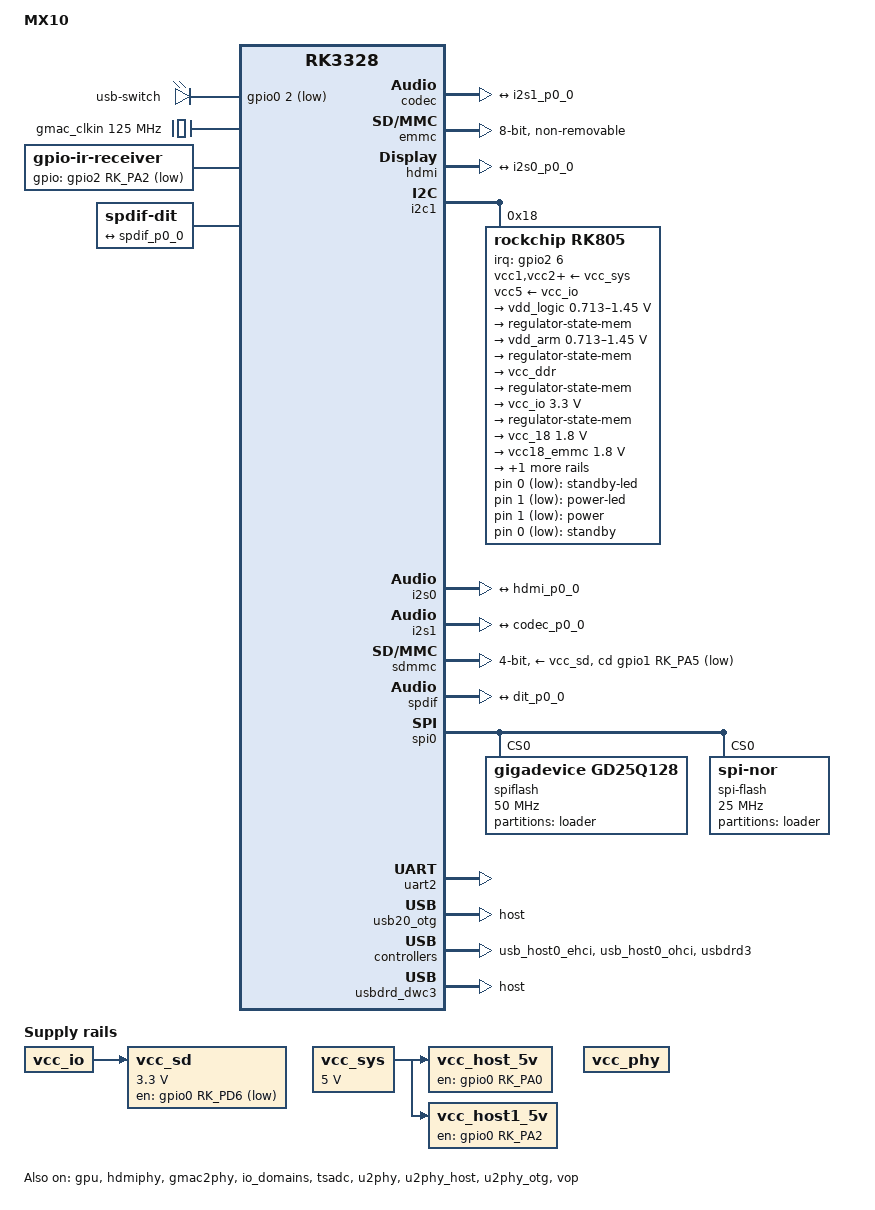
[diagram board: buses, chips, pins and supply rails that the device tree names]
// SPDX-License-Identifier: (GPL-2.0+ OR MIT)
/*
 * Copyright (c) 2017 PINE64
 */

/dts-v1/;
#include "rk3328.dtsi"

/ {
	model = "MX10";
	compatible = "mx10,mx10", "rockchip,rk3328";

	chosen {
		bootargs = "earlycon=uart8250,mmio32,0xff130000";
		stdout-path = "serial2:1500000n8";
	};

/* the ddr_timing is only used with legacy atf - mainline atf does not yet support dmc */
	ddr_timing {
		compatible = "rockchip,ddr-timing";
		ddr3_speed_bin = <0x15>;
		ddr4_speed_bin = <0xc>;
		pd_idle = <0x0>;
		sr_idle = <0x0>;
		sr_mc_gate_idle = <0x0>;
		srpd_lite_idle = <0x0>;
		standby_idle = <0x0>;
		auto_pd_dis_freq = <0x42a>;
		auto_sr_dis_freq = <0x320>;
		ddr3_dll_dis_freq = <0x12c>;
		ddr4_dll_dis_freq = <0x271>;
		phy_dll_dis_freq = <0x190>;
		ddr3_odt_dis_freq = <0x64>;
		phy_ddr3_odt_dis_freq = <0x64>;
		ddr3_drv = <0x28>;
		ddr3_odt = <0x78>;
		phy_ddr3_ca_drv = <0x15>;
		phy_ddr3_ck_drv = <0x12>;
		phy_ddr3_dq_drv = <0x15>;
		phy_ddr3_odt = <0x2>;
		lpddr3_odt_dis_freq = <0x29a>;
		phy_lpddr3_odt_dis_freq = <0x29a>;
		lpddr3_drv = <0x28>;
		lpddr3_odt = <0xf0>;
		phy_lpddr3_ca_drv = <0x16>;
		phy_lpddr3_ck_drv = <0x13>;
		phy_lpddr3_dq_drv = <0x16>;
		phy_lpddr3_odt = <0x2>;
		lpddr4_odt_dis_freq = <0x320>;
		phy_lpddr4_odt_dis_freq = <0x320>;
		lpddr4_drv = <0x3c>;
		lpddr4_dq_odt = <0x28>;
		lpddr4_ca_odt = <0x28>;
		phy_lpddr4_ca_drv = <0x14>;
		phy_lpddr4_ck_cs_drv = <0x6>;
		phy_lpddr4_dq_drv = <0x6>;
		phy_lpddr4_odt = <0x10>;
		ddr4_odt_dis_freq = <0x29a>;
		phy_ddr4_odt_dis_freq = <0x29a>;
		ddr4_drv = <0x22>;
		ddr4_odt = <0x78>;
		phy_ddr4_ca_drv = <0x1b>;
		phy_ddr4_ck_drv = <0x1b>;
		phy_ddr4_dq_drv = <0x1b>;
		phy_ddr4_odt = <0x4>;
		ddr3a1_ddr4a9_de-skew = <0x1>;
		ddr3a0_ddr4a10_de-skew = <0x1>;
		ddr3a3_ddr4a6_de-skew = <0x0>;
		ddr3a2_ddr4a4_de-skew = <0x1>;
		ddr3a5_ddr4a8_de-skew = <0x0>;
		ddr3a4_ddr4a5_de-skew = <0x1>;
		ddr3a7_ddr4a11_de-skew = <0x1>;
		ddr3a6_ddr4a7_de-skew = <0x0>;
		ddr3a9_ddr4a0_de-skew = <0x1>;
		ddr3a8_ddr4a13_de-skew = <0x0>;
		ddr3a11_ddr4a3_de-skew = <0x2>;
		ddr3a10_ddr4cs0_de-skew = <0x3>;
		ddr3a13_ddr4a2_de-skew = <0x1>;
		ddr3a12_ddr4ba1_de-skew = <0x0>;
		ddr3a15_ddr4odt0_de-skew = <0x3>;
		ddr3a14_ddr4a1_de-skew = <0x2>;
		ddr3ba1_ddr4a15_de-skew = <0x1>;
		ddr3ba0_ddr4bg0_de-skew = <0x1>;
		ddr3ras_ddr4cke_de-skew = <0x3>;
		ddr3ba2_ddr4ba0_de-skew = <0x1>;
		ddr3we_ddr4bg1_de-skew = <0x3>;
		ddr3cas_ddr4a12_de-skew = <0x1>;
		ddr3ckn_ddr4ckn_de-skew = <0x4>;
		ddr3ckp_ddr4ckp_de-skew = <0x4>;
		ddr3cke_ddr4a16_de-skew = <0x1>;
		ddr3odt0_ddr4a14_de-skew = <0x1>;
		ddr3cs0_ddr4act_de-skew = <0x2>;
		ddr3reset_ddr4reset_de-skew = <0x3>;
		ddr3cs1_ddr4cs1_de-skew = <0x2>;
		ddr3odt1_ddr4odt1_de-skew = <0x2>;
		cs0_dm0_rx_de-skew = <0x8>;
		cs0_dm0_tx_de-skew = <0x9>;
		cs0_dq0_rx_de-skew = <0x8>;
		cs0_dq0_tx_de-skew = <0x9>;
		cs0_dq1_rx_de-skew = <0x8>;
		cs0_dq1_tx_de-skew = <0x9>;
		cs0_dq2_rx_de-skew = <0x8>;
		cs0_dq2_tx_de-skew = <0x9>;
		cs0_dq3_rx_de-skew = <0x8>;
		cs0_dq3_tx_de-skew = <0x9>;
		cs0_dq4_rx_de-skew = <0x8>;
		cs0_dq4_tx_de-skew = <0x9>;
		cs0_dq5_rx_de-skew = <0x8>;
		cs0_dq5_tx_de-skew = <0x9>;
		cs0_dq6_rx_de-skew = <0x8>;
		cs0_dq6_tx_de-skew = <0x9>;
		cs0_dq7_rx_de-skew = <0x8>;
		cs0_dq7_tx_de-skew = <0x9>;
		cs0_dqs0_rx_de-skew = <0x7>;
		cs0_dqs0p_tx_de-skew = <0xa>;
		cs0_dqs0n_tx_de-skew = <0xa>;
		cs0_dm1_rx_de-skew = <0x8>;
		cs0_dm1_tx_de-skew = <0x8>;
		cs0_dq8_rx_de-skew = <0x8>;
		cs0_dq8_tx_de-skew = <0x9>;
		cs0_dq9_rx_de-skew = <0x8>;
		cs0_dq9_tx_de-skew = <0x8>;
		cs0_dq10_rx_de-skew = <0x8>;
		cs0_dq10_tx_de-skew = <0x9>;
		cs0_dq11_rx_de-skew = <0x8>;
		cs0_dq11_tx_de-skew = <0x8>;
		cs0_dq12_rx_de-skew = <0x8>;
		cs0_dq12_tx_de-skew = <0x9>;
		cs0_dq13_rx_de-skew = <0x8>;
		cs0_dq13_tx_de-skew = <0x8>;
		cs0_dq14_rx_de-skew = <0x8>;
		cs0_dq14_tx_de-skew = <0x9>;
		cs0_dq15_rx_de-skew = <0x8>;
		cs0_dq15_tx_de-skew = <0x8>;
		cs0_dqs1_rx_de-skew = <0x8>;
		cs0_dqs1p_tx_de-skew = <0xa>;
		cs0_dqs1n_tx_de-skew = <0xa>;
		cs0_dm2_rx_de-skew = <0x8>;
		cs0_dm2_tx_de-skew = <0x9>;
		cs0_dq16_rx_de-skew = <0x8>;
		cs0_dq16_tx_de-skew = <0x9>;
		cs0_dq17_rx_de-skew = <0x8>;
		cs0_dq17_tx_de-skew = <0x9>;
		cs0_dq18_rx_de-skew = <0x8>;
		cs0_dq18_tx_de-skew = <0x9>;
		cs0_dq19_rx_de-skew = <0x8>;
		cs0_dq19_tx_de-skew = <0x9>;
		cs0_dq20_rx_de-skew = <0x8>;
		cs0_dq20_tx_de-skew = <0x9>;
		cs0_dq21_rx_de-skew = <0x8>;
		cs0_dq21_tx_de-skew = <0x9>;
		cs0_dq22_rx_de-skew = <0x8>;
		cs0_dq22_tx_de-skew = <0x9>;
		cs0_dq23_rx_de-skew = <0x8>;
		cs0_dq23_tx_de-skew = <0x9>;
		cs0_dqs2_rx_de-skew = <0x7>;
		cs0_dqs2p_tx_de-skew = <0xa>;
		cs0_dqs2n_tx_de-skew = <0xa>;
		cs0_dm3_rx_de-skew = <0x8>;
		cs0_dm3_tx_de-skew = <0x8>;
		cs0_dq24_rx_de-skew = <0x8>;
		cs0_dq24_tx_de-skew = <0x9>;
		cs0_dq25_rx_de-skew = <0x8>;
		cs0_dq25_tx_de-skew = <0x8>;
		cs0_dq26_rx_de-skew = <0x8>;
		cs0_dq26_tx_de-skew = <0x8>;
		cs0_dq27_rx_de-skew = <0x8>;
		cs0_dq27_tx_de-skew = <0x8>;
		cs0_dq28_rx_de-skew = <0x8>;
		cs0_dq28_tx_de-skew = <0x8>;
		cs0_dq29_rx_de-skew = <0x8>;
		cs0_dq29_tx_de-skew = <0x8>;
		cs0_dq30_rx_de-skew = <0x8>;
		cs0_dq30_tx_de-skew = <0x8>;
		cs0_dq31_rx_de-skew = <0x8>;
		cs0_dq31_tx_de-skew = <0x8>;
		cs0_dqs3_rx_de-skew = <0x8>;
		cs0_dqs3p_tx_de-skew = <0xa>;
		cs0_dqs3n_tx_de-skew = <0xa>;
		cs1_dm0_rx_de-skew = <0x8>;
		cs1_dm0_tx_de-skew = <0x9>;
		cs1_dq0_rx_de-skew = <0x8>;
		cs1_dq0_tx_de-skew = <0x9>;
		cs1_dq1_rx_de-skew = <0x8>;
		cs1_dq1_tx_de-skew = <0x9>;
		cs1_dq2_rx_de-skew = <0x8>;
		cs1_dq2_tx_de-skew = <0x9>;
		cs1_dq3_rx_de-skew = <0x8>;
		cs1_dq3_tx_de-skew = <0x9>;
		cs1_dq4_rx_de-skew = <0x8>;
		cs1_dq4_tx_de-skew = <0x9>;
		cs1_dq5_rx_de-skew = <0x8>;
		cs1_dq5_tx_de-skew = <0x9>;
		cs1_dq6_rx_de-skew = <0x8>;
		cs1_dq6_tx_de-skew = <0x9>;
		cs1_dq7_rx_de-skew = <0x8>;
		cs1_dq7_tx_de-skew = <0x9>;
		cs1_dqs0_rx_de-skew = <0x7>;
		cs1_dqs0p_tx_de-skew = <0xa>;
		cs1_dqs0n_tx_de-skew = <0xa>;
		cs1_dm1_rx_de-skew = <0x8>;
		cs1_dm1_tx_de-skew = <0x8>;
		cs1_dq8_rx_de-skew = <0x8>;
		cs1_dq8_tx_de-skew = <0x9>;
		cs1_dq9_rx_de-skew = <0x8>;
		cs1_dq9_tx_de-skew = <0x8>;
		cs1_dq10_rx_de-skew = <0x8>;
		cs1_dq10_tx_de-skew = <0x9>;
		cs1_dq11_rx_de-skew = <0x8>;
		cs1_dq11_tx_de-skew = <0x8>;
		cs1_dq12_rx_de-skew = <0x8>;
		cs1_dq12_tx_de-skew = <0x9>;
		cs1_dq13_rx_de-skew = <0x8>;
		cs1_dq13_tx_de-skew = <0x8>;
		cs1_dq14_rx_de-skew = <0x8>;
		cs1_dq14_tx_de-skew = <0x9>;
		cs1_dq15_rx_de-skew = <0x8>;
		cs1_dq15_tx_de-skew = <0x8>;
		cs1_dqs1_rx_de-skew = <0x8>;
		cs1_dqs1p_tx_de-skew = <0xa>;
		cs1_dqs1n_tx_de-skew = <0xa>;
		cs1_dm2_rx_de-skew = <0x8>;
		cs1_dm2_tx_de-skew = <0x9>;
		cs1_dq16_rx_de-skew = <0x8>;
		cs1_dq16_tx_de-skew = <0x9>;
		cs1_dq17_rx_de-skew = <0x8>;
		cs1_dq17_tx_de-skew = <0x9>;
		cs1_dq18_rx_de-skew = <0x8>;
		cs1_dq18_tx_de-skew = <0x9>;
		cs1_dq19_rx_de-skew = <0x8>;
		cs1_dq19_tx_de-skew = <0x9>;
		cs1_dq20_rx_de-skew = <0x8>;
		cs1_dq20_tx_de-skew = <0x9>;
		cs1_dq21_rx_de-skew = <0x8>;
		cs1_dq21_tx_de-skew = <0x9>;
		cs1_dq22_rx_de-skew = <0x8>;
		cs1_dq22_tx_de-skew = <0x9>;
		cs1_dq23_rx_de-skew = <0x8>;
		cs1_dq23_tx_de-skew = <0x9>;
		cs1_dqs2_rx_de-skew = <0x7>;
		cs1_dqs2p_tx_de-skew = <0xa>;
		cs1_dqs2n_tx_de-skew = <0xa>;
		cs1_dm3_rx_de-skew = <0x8>;
		cs1_dm3_tx_de-skew = <0x8>;
		cs1_dq24_rx_de-skew = <0x8>;
		cs1_dq24_tx_de-skew = <0x9>;
		cs1_dq25_rx_de-skew = <0x8>;
		cs1_dq25_tx_de-skew = <0x8>;
		cs1_dq26_rx_de-skew = <0x8>;
		cs1_dq26_tx_de-skew = <0x8>;
		cs1_dq27_rx_de-skew = <0x8>;
		cs1_dq27_tx_de-skew = <0x8>;
		cs1_dq28_rx_de-skew = <0x8>;
		cs1_dq28_tx_de-skew = <0x8>;
		cs1_dq29_rx_de-skew = <0x8>;
		cs1_dq29_tx_de-skew = <0x8>;
		cs1_dq30_rx_de-skew = <0x8>;
		cs1_dq30_tx_de-skew = <0x8>;
		cs1_dq31_rx_de-skew = <0x8>;
		cs1_dq31_tx_de-skew = <0x8>;
		cs1_dqs3_rx_de-skew = <0x8>;
		cs1_dqs3p_tx_de-skew = <0xa>;
		cs1_dqs3n_tx_de-skew = <0xa>;
		phandle = <0x81>;
	};

	leds {
		compatible = "gpio-leds";

		standby-led {
			linux,default-trigger = "disk-activity";
			gpios = <&rk805 0 GPIO_ACTIVE_LOW>;
			default-state = "on";
		};

		power-led {
			gpios = <&rk805 1 GPIO_ACTIVE_LOW>;
			default-state = "on";
		};
	};

	leds {
		compatible = "gpio-leds";

		usb-switch {
			linux,default-trigger = "none";
			gpios = <&gpio0 2 1>;
			mode = <0x23>;
			default-state = "on";
		};
	};

	gmac_clkin: external-gmac-clock {
		compatible = "fixed-clock";
		clock-frequency = <125000000>;
		clock-output-names = "gmac_clkin";
		#clock-cells = <0>;
	};

	vcc_sd: sdmmc-regulator {
		compatible = "regulator-fixed";
		gpio = <&gpio0 RK_PD6 GPIO_ACTIVE_LOW>;
		pinctrl-names = "default";
		pinctrl-0 = <&sdmmc0m1_pin>;
		regulator-name = "vcc_sd";
		regulator-min-microvolt = <3300000>;
		regulator-max-microvolt = <3300000>;
		vin-supply = <&vcc_io>;
	};

	vcc_host_5v: vcc-host-5v-regulator {
		compatible = "regulator-fixed";
		enable-active-high;
		gpio = <&gpio0 RK_PA0 GPIO_ACTIVE_HIGH>;
		pinctrl-names = "default";
		pinctrl-0 = <&usb30_host_drv>;
		regulator-name = "vcc_host_5v";
		regulator-always-on;
		regulator-boot-on;
		vin-supply = <&vcc_sys>;
	};

	vcc_host1_5v: vcc_otg_5v: vcc-host1-5v-regulator {
		compatible = "regulator-fixed";
		enable-active-high;
		gpio = <&gpio0 RK_PA2 GPIO_ACTIVE_HIGH>;
		pinctrl-names = "default";
		pinctrl-0 = <&usb20_host_drv>;
		regulator-name = "vcc_host1_5v";
		regulator-always-on;
		regulator-boot-on;
		vin-supply = <&vcc_sys>;
	};

	vcc_sys: vcc-sys {
		compatible = "regulator-fixed";
		regulator-name = "vcc_sys";
		regulator-always-on;
		regulator-boot-on;
		regulator-min-microvolt = <5000000>;
		regulator-max-microvolt = <5000000>;
	};

	ir-receiver {
		compatible = "gpio-ir-receiver";
		gpios = <&gpio2 RK_PA2 GPIO_ACTIVE_LOW>;
		pinctrl-0 = <&ir_int>;
		pinctrl-names = "default";
	};

	leds {
		compatible = "gpio-leds";

		power {
			gpios = <&rk805 1 GPIO_ACTIVE_LOW>;
			linux,default-trigger = "mmc0";
		};

		standby {
			gpios = <&rk805 0 GPIO_ACTIVE_LOW>;
			linux,default-trigger = "heartbeat";
		};
	};

	sound {
		compatible = "audio-graph-card";
		label = "rockchip,rk3328";
		dais = <&i2s0_p0
			&i2s1_p0
			&spdif_p0>;
	};

	spdif-dit {
		compatible = "linux,spdif-dit";
		#sound-dai-cells = <0>;

		port {
			dit_p0_0: endpoint {
				remote-endpoint = <&spdif_p0_0>;
			};
		};
	};

	vcc_phy: vcc-phy-regulator {
		compatible = "regulator-fixed";
		regulator-name = "vcc_phy";
		regulator-always-on;
		regulator-boot-on;
	};
};

&codec {
	status = "okay";

	port@0 {
		codec_p0_0: endpoint {
			remote-endpoint = <&i2s1_p0_0>;
		};
	};
};

&cpu0 {
	cpu-supply = <&vdd_arm>;
};

&cpu1 {
	cpu-supply = <&vdd_arm>;
};

&cpu2 {
	cpu-supply = <&vdd_arm>;
};

&cpu3 {
	cpu-supply = <&vdd_arm>;
};

/* adjusted opp table to use slightly (25mv) higher voltages and disable the clocks higher than 1.3ghz */
&cpu0_opp_table {
	opp-408000000 {
		opp-microvolt = <975000>;
	};
	opp-600000000 {
		opp-microvolt = <975000>;
	};
	opp-816000000 {
		opp-microvolt = <1025000>;
	};
	opp-1008000000 {
		opp-microvolt = <1125000>;
	};
	opp-1200000000 {
		opp-microvolt = <1250000>;
	};
	opp-1296000000 {
		opp-microvolt = <1325000>;
		status = "okay";
	};
	opp-1392000000 {
		opp-hz = /bits/ 64 <1392000000>;
		opp-microvolt = <1375000>;
		clock-latency-ns = <40000>;
		status = "disabled";
	};
	opp-1416000000 {
		opp-hz = /bits/ 64 <1416000000>;
		opp-microvolt = <1475000>;
		clock-latency-ns = <40000>;
		status = "disabled";
	};
	opp-1488000000 {
		opp-hz = /bits/ 64 <1488000000>;
		opp-microvolt = <1475000>;
		clock-latency-ns = <40000>;
		status = "disabled";
	};
	opp-1512000000 {
		opp-hz = /bits/ 64 <1512000000>;
		opp-microvolt = <1475000>;
		clock-latency-ns = <40000>;
		status = "disabled";
	};
	opp-1608000000 {
		opp-hz = /bits/ 64 <1608000000>;
		opp-microvolt = <1475000>;
		clock-latency-ns = <40000>;
		status = "disabled";
	};
};

&emmc {
	max-frequency = <200000000>;
	bus-width = <8>;
	cap-mmc-highspeed;
	mmc-hs200-1_8v;
	non-removable;
	num-slots = <1>;
	pinctrl-names = "default";
	pinctrl-0 = <&emmc_clk &emmc_cmd &emmc_bus8>;
	status = "okay";
	supports-emmc;
	clocks = <&cru HCLK_EMMC>, <&cru SCLK_EMMC>,
	         <&cru SCLK_EMMC_DRV>, <&cru SCLK_EMMC_SAMPLE>;
	clock-names = "biu", "ciu", "ciu-drv", "ciu-sample";
};

&gmac2io {
	assigned-clocks = <&cru SCLK_MAC2IO>, <&cru SCLK_MAC2IO_EXT>;
	assigned-clock-parents = <&gmac_clkin>, <&gmac_clkin>;
	clock_in_out = "input";
	phy-supply = <&vcc_phy>;
	phy-mode = "rgmii";
	pinctrl-names = "default";
	pinctrl-0 = <&rgmiim1_pins>;
	rockchip,bugged_tx_coe;
	snps,reset-gpio = <&gpio1 RK_PC2 GPIO_ACTIVE_LOW>;
	snps,reset-active-low;
	snps,reset-delays-us = <0 10000 50000>;
	tx_delay = <0x24>;
	rx_delay = <0x18>;
	status = "disabled";
};

&gpu {
	status = "okay";
};

&hdmi {
	status = "okay";

	port@0 {
		hdmi_p0_0: endpoint {
			remote-endpoint = <&i2s0_p0_0>;
		};
	};
};

&hdmiphy {
	status = "okay";
};

&gmac2phy {
	phy-supply = <&vcc_phy>;
	clock_in_out = "output";
	assigned-clocks = <&cru SCLK_MAC2PHY_SRC>;
	assigned-clock-rate = <50000000>;
	assigned-clocks = <&cru SCLK_MAC2PHY>;
	assigned-clock-parents = <&cru SCLK_MAC2PHY_SRC>;
	status = "okay";
};

&i2c1 {
	status = "okay";

	rk805: rk805@18 {
		compatible = "rockchip,rk805";
		reg = <0x18>;
		interrupt-parent = <&gpio2>;
		interrupts = <6 IRQ_TYPE_LEVEL_LOW>;
		#clock-cells = <1>;
		clock-output-names = "xin32k", "rk805-clkout2";
		gpio-controller;
		#gpio-cells = <2>;
		pinctrl-names = "default";
		pinctrl-0 = <&pmic_int_l>;
		rockchip,system-power-controller;
		wakeup-source;

		vcc1-supply = <&vcc_sys>;
		vcc2-supply = <&vcc_sys>;
		vcc3-supply = <&vcc_sys>;
		vcc4-supply = <&vcc_sys>;
		vcc5-supply = <&vcc_io>;
		vcc6-supply = <&vcc_sys>;

		regulators {
			vdd_logic: DCDC_REG1 {
				regulator-name = "vdd_logic";
				regulator-min-microvolt = <712500>;
				regulator-max-microvolt = <1450000>;
				regulator-initial-mode = <0x1>;
				regulator-ramp-delay = <12500>;
				regulator-always-on;
				regulator-boot-on;
				regulator-state-mem {
					regulator-mode = <0x2>;
					regulator-on-in-suspend;
					regulator-suspend-microvolt = <1000000>;
				};
			};

			vdd_arm: DCDC_REG2 {
				regulator-name = "vdd_arm";
				regulator-min-microvolt = <712500>;
				regulator-max-microvolt = <1450000>;
				regulator-initial-mode = <0x1>;
				regulator-ramp-delay = <12500>;
				regulator-always-on;
				regulator-boot-on;
				regulator-state-mem {
					regulator-mode = <0x2>;
					regulator-on-in-suspend;
					regulator-suspend-microvolt = <950000>;
				};
			};

			vcc_ddr: DCDC_REG3 {
				regulator-name = "vcc_ddr";
				regulator-initial-mode = <0x1>;
				regulator-always-on;
				regulator-boot-on;
				regulator-state-mem {
					regulator-mode = <0x2>;
					regulator-on-in-suspend;
				};
			};

			vcc_io: DCDC_REG4 {
				regulator-name = "vcc_io";
				regulator-min-microvolt = <3300000>;
				regulator-max-microvolt = <3300000>;
				regulator-initial-mode = <0x1>;
				regulator-always-on;
				regulator-boot-on;
				regulator-state-mem {
					regulator-mode = <0x2>;
					regulator-on-in-suspend;
					regulator-suspend-microvolt = <3300000>;
				};
			};

			vcc_18: LDO_REG1 {
				regulator-name = "vcc_18";
				regulator-min-microvolt = <1800000>;
				regulator-max-microvolt = <1800000>;
				regulator-always-on;
				regulator-boot-on;
				regulator-state-mem {
					regulator-on-in-suspend;
					regulator-suspend-microvolt = <1800000>;
				};
			};

			vcc18_emmc: LDO_REG2 {
				regulator-name = "vcc18_emmc";
				regulator-min-microvolt = <1800000>;
				regulator-max-microvolt = <1800000>;
				regulator-always-on;
				regulator-boot-on;
				regulator-state-mem {
					regulator-on-in-suspend;
					regulator-suspend-microvolt = <1800000>;
				};
			};

			vdd_10: LDO_REG3 {
				regulator-name = "vdd_10";
				regulator-min-microvolt = <1000000>;
				regulator-max-microvolt = <1000000>;
				regulator-always-on;
				regulator-boot-on;
				regulator-state-mem {
					regulator-on-in-suspend;
					regulator-suspend-microvolt = <1000000>;
				};
			};
		};
	};
};

&i2s0 {
	status = "okay";

	i2s0_p0: port {
		i2s0_p0_0: endpoint {
			dai-format = "i2s";
			mclk-fs = <256>;
			remote-endpoint = <&hdmi_p0_0>;
		};
	};
};

&i2s1 {
	status = "okay";

	i2s1_p0: port {
		i2s1_p0_0: endpoint {
			dai-format = "i2s";
			mclk-fs = <256>;
			remote-endpoint = <&codec_p0_0>;
		};
	};
};

&io_domains {
	status = "okay";

	vccio1-supply = <&vcc_io>;
	vccio2-supply = <&vcc18_emmc>;
	vccio3-supply = <&vcc_io>;
	vccio4-supply = <&vcc_18>;
	vccio5-supply = <&vcc_io>;
	vccio6-supply = <&vcc_io>;
	pmuio-supply = <&vcc_io>;
};

&pinctrl {
	ir {
		ir_int: ir-int {
			rockchip,pins = <2 RK_PA2 RK_FUNC_GPIO &pcfg_pull_none>;
		};
	};

	pmic {
		pmic_int_l: pmic-int-l {
			rockchip,pins = <2 RK_PA6 RK_FUNC_GPIO &pcfg_pull_up>;
		};
	};

	usb2 {
		usb20_host_drv: usb20-host-drv {
			rockchip,pins = <0 RK_PA2 RK_FUNC_GPIO &pcfg_pull_none>;
		};
	};

	usb3 {
		usb30_host_drv: usb30-host-drv {
			rockchip,pins = <0 RK_PA0 RK_FUNC_GPIO &pcfg_pull_none>;
		};
	};
};

&sdmmc {
	bus-width = <4>;
	cap-mmc-highspeed;
	cap-sd-highspeed;
	cd-gpios = <&gpio1 RK_PA5 GPIO_ACTIVE_LOW>;
	disable-wp;
	max-frequency = <150000000>;
	num-slots = <1>;
	pinctrl-names = "default";
	pinctrl-0 = <&sdmmc0_clk &sdmmc0_cmd &sdmmc0_dectn &sdmmc0_bus4>;
	supports-sd;
	vmmc-supply = <&vcc_sd>;
	vqmmc-supply = <&vcc_sd>;
	status = "okay";
};

&spdif {
	pinctrl-0 = <&spdifm0_tx>;
	status = "okay";

	spdif_p0: port {
		spdif_p0_0: endpoint {
			remote-endpoint = <&dit_p0_0>;
		};
	};
};

&spi0 {
	status = "okay";

	spiflash@0 {
		compatible = "gigadevice,gd25q128", "jedec,spi-nor";
		reg = <0>;
		m25p,fast-read;

		/* maximum speed for Rockchip SPI */
		spi-max-frequency = <50000000>;

		partitions {
			compatible = "fixed-partitions";
			#address-cells = <1>;
			#size-cells = <1>;

			loader@8000 {
				label = "loader";
				reg = <0x8000 0x3F0000>;
			};
		};
	};
};

&tsadc {
	rockchip,hw-tshut-mode = <0>;
	rockchip,hw-tshut-polarity = <0>;
	status = "okay";
};

&uart2 {
	status = "okay";
};

&u2phy {
	status = "okay";
};

&u2phy_host {
	status = "okay";
};

&u2phy_otg {
	status = "okay";
};

&usb20_otg {
	dr_mode = "host";
	status = "okay";
};

&usb_host0_ehci {
	status = "okay";
};

&usb_host0_ohci {
	status = "okay";
};

&vop {
	status = "okay";
};

&vop_mmu {
	status = "okay";
};

&usbdrd3 {
	status = "okay";
};

&usbdrd_dwc3 {
	dr_mode = "host";
	status = "okay";
};

&spi0 {
	status = "okay";

	/* SPI DMA does not work currently */
	/delete-property/ dmas;
	/delete-property/ #dma-cells;
	/delete-property/ dma-names;

	 spi-flash@0 {
		#address-cells = <0x1>;
		#size-cells = <1>;
		compatible = "jedec,spi-nor";
		reg = <0x0>;
		spi-max-frequency = <25000000>;
		status = "okay";
		m25p,fast-read;

		partitions {
			compatible = "fixed-partitions";
			#address-cells = <1>;
			#size-cells = <1>;

			loader@8000 {
				label = "loader";
				reg = <0x8000 0x3F0000>;
			};
		};
	};
};
